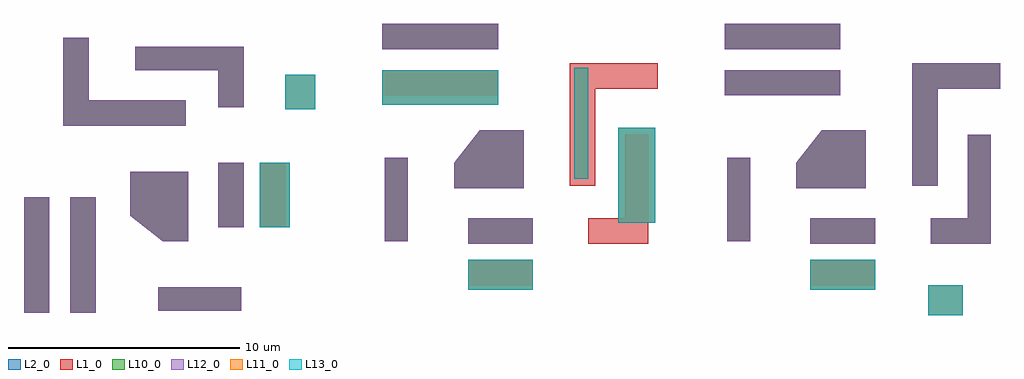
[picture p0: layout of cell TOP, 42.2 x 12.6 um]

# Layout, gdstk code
import gdstk
lib = gdstk.Library(unit=1e-6, precision=1e-09)
def R(c, l, rs):  # rectangles x0, y0, x1, y1
    for r in rs: c.add(gdstk.rectangle(r[:2], r[2:], *l))
def P(c, l, *ps):  # polygons
    for p in ps: c.add(gdstk.Polygon(p, *l))
L1_0 = (1, 0)
L2_0 = (2, 0)
L10_0 = (10, 0)
L11_0 = (11, 0)
L12_0 = (12, 0)
L13_0 = (13, 0)
L20_0 = (20, 0)
L21_0 = (21, 0)
L22_0 = (22, 0)
L23_0 = (23, 0)

top = lib.new_cell('TOP')
R(top, L1_0, [(1.1,1.2,2.2,3.2), (3.1,1.2,4.2,6.2), (6.9,1.3,10.5,2.3), (20.3,2.4,23.1,3.5), (35.1,2.4,37.9,3.5), (1.1,3.2,2.2,6.2), (20.3,4.2,23.1,5.3), (25.5,4.2,28.1,5.3), (35.1,4.2,37.9,5.3), (40.3,4.2,42.9,5.3), (16.7,4.3,17.7,7.9), (31.5,4.3,32.5,7.9), (9.5,4.9,10.6,7.7), (11.3,4.9,12.4,7.7), (27.1,5.3,28.1,8.9), (41.9,5.3,42.9,8.9), (9.5,10.1,10.6,12.7), (16.6,10.6,21.6,11.7), (31.4,10.6,36.4,11.7), (5.9,11.7,9.5,12.7), (16.6,12.6,18.6,13.7), (18.6,12.6,21.6,13.7), (31.4,12.6,33.4,13.7), (33.4,12.6,36.4,13.7)])
P(top, L1_0, [(7.1,4.3),(5.7,5.4),(5.7,7.3),(8.2,7.3),(8.2,4.3)],
  [(2.8,9.3),(2.8,13.1),(3.9,13.1),(3.9,10.4),(8.1,10.4),(8.1,9.3)],
  [(19.7,6.6),(19.7,7.7),(20.8,9.1),(22.7,9.1),(22.7,6.6)],
  [(24.7,6.7),(24.7,12),(28.5,12),(28.5,10.9),(25.8,10.9),(25.8,6.7)],
  [(34.5,6.6),(34.5,7.7),(35.6,9.1),(37.5,9.1),(37.5,6.6)],
  [(39.5,6.7),(39.5,12),(43.3,12),(43.3,10.9),(40.6,10.9),(40.6,6.7)])
R(top, L2_0, [(40.2,1.1,41.7,2.4), (1.1,1.2,2.2,6.2), (3.1,1.2,4.2,6.2), (6.9,1.3,8.7,2.3), (8.7,1.3,10.5,2.3), (20.3,2.2,23.1,3.5), (35.1,2.2,37.9,3.5), (20.3,4.2,23.1,5.3), (35.1,4.2,37.9,5.3), (16.7,4.3,17.7,6.1), (31.5,4.3,32.5,6.1), (9.5,4.9,10.6,7.7), (11.3,4.9,12.6,7.7), (26.8,5.1,28.4,9.2), (16.7,6.1,17.7,7.9), (31.5,6.1,32.5,7.9), (24.9,7,25.5,11.8), (12.4,10,13.7,11.5), (16.6,10.2,21.6,11.7), (31.4,10.6,36.4,11.7), (16.6,12.6,21.6,13.7), (31.4,12.6,36.4,13.7)])
P(top, L2_0, [(9.5,10.1),(9.5,11.7),(5.9,11.7),(5.9,12.7),(10.6,12.7),(10.6,10.1)],
  [(2.8,9.3),(2.8,13.1),(3.9,13.1),(3.9,10.4),(8.1,10.4),(8.1,9.3)],
  [(7.1,4.3),(5.7,5.4),(5.7,7.3),(8.2,7.3),(8.2,4.3)],
  [(19.7,6.6),(19.7,7.7),(20.8,9.1),(22.7,9.1),(22.7,6.6)],
  [(34.5,6.6),(34.5,7.7),(35.6,9.1),(37.5,9.1),(37.5,6.6)],
  [(40.3,4.2),(40.3,5.3),(41.9,5.3),(41.9,8.9),(42.9,8.9),(42.9,4.2)],
  [(39.5,6.7),(39.5,12),(43.3,12),(43.3,10.9),(40.6,10.9),(40.6,6.7)])
R(top, L10_0, [(1.1,1.2,2.2,6.2), (3.1,1.2,4.2,6.2), (6.9,1.3,10.5,2.3), (20.3,4.2,23.1,5.3), (35.1,4.2,37.9,5.3), (16.7,4.3,17.7,7.9), (31.5,4.3,32.5,7.9), (9.5,4.9,10.6,7.7), (31.4,10.6,36.4,11.7), (16.6,12.6,21.6,13.7), (31.4,12.6,36.4,13.7)])
P(top, L10_0, [(7.1,4.3),(5.7,5.4),(5.7,7.3),(8.2,7.3),(8.2,4.3)],
  [(40.3,4.2),(40.3,5.3),(41.9,5.3),(41.9,8.9),(42.9,8.9),(42.9,4.2)],
  [(19.7,6.6),(19.7,7.7),(20.8,9.1),(22.7,9.1),(22.7,6.6)],
  [(34.5,6.6),(34.5,7.7),(35.6,9.1),(37.5,9.1),(37.5,6.6)],
  [(39.5,6.7),(39.5,12),(43.3,12),(43.3,10.9),(40.6,10.9),(40.6,6.7)],
  [(9.5,10.1),(9.5,11.7),(5.9,11.7),(5.9,12.7),(10.6,12.7),(10.6,10.1)],
  [(2.8,9.3),(2.8,13.1),(3.9,13.1),(3.9,10.4),(8.1,10.4),(8.1,9.3)])
R(top, L11_0, [(40.2,1.1,41.7,2.4), (20.3,2.2,23.1,3.5), (35.1,2.2,37.9,3.5), (11.3,4.9,12.6,7.7), (26.8,5.1,28.4,9.2), (24.9,7,25.5,11.8), (12.4,10,13.7,11.5), (16.6,10.2,21.6,11.7)])
R(top, L12_0, [(1.1,1.2,2.2,6.2), (3.1,1.2,4.2,6.2), (6.9,1.3,10.5,2.3), (20.3,4.2,23.1,5.3), (35.1,4.2,37.9,5.3), (16.7,4.3,17.7,7.9), (31.5,4.3,32.5,7.9), (9.5,4.9,10.6,7.7), (31.4,10.6,36.4,11.7), (16.6,12.6,21.6,13.7), (31.4,12.6,36.4,13.7)])
P(top, L12_0, [(7.1,4.3),(5.7,5.4),(5.7,7.3),(8.2,7.3),(8.2,4.3)],
  [(40.3,4.2),(40.3,5.3),(41.9,5.3),(41.9,8.9),(42.9,8.9),(42.9,4.2)],
  [(19.7,6.6),(19.7,7.7),(20.8,9.1),(22.7,9.1),(22.7,6.6)],
  [(34.5,6.6),(34.5,7.7),(35.6,9.1),(37.5,9.1),(37.5,6.6)],
  [(39.5,6.7),(39.5,12),(43.3,12),(43.3,10.9),(40.6,10.9),(40.6,6.7)],
  [(9.5,10.1),(9.5,11.7),(5.9,11.7),(5.9,12.7),(10.6,12.7),(10.6,10.1)],
  [(2.8,9.3),(2.8,13.1),(3.9,13.1),(3.9,10.4),(8.1,10.4),(8.1,9.3)])
R(top, L13_0, [(40.2,1.1,41.7,2.4), (20.3,2.2,23.1,3.5), (35.1,2.2,37.9,3.5), (11.3,4.9,12.6,7.7), (26.8,5.1,28.4,9.2), (24.9,7,25.5,11.8), (12.4,10,13.7,11.5), (16.6,10.2,21.6,11.7)])
top.add(gdstk.FlexPath([(20.3,3.5),(23.1,3.5)], 0, ends="flush", simple_path=True, layer=20, datatype=0))  # L20_0
top.add(gdstk.FlexPath([(23.1,4.2),(20.3,4.2)], 0, ends="flush", simple_path=True, layer=20, datatype=0))  # L20_0
top.add(gdstk.FlexPath([(20.3,5.3),(23.1,5.3)], 0, ends="flush", simple_path=True, layer=20, datatype=0))  # L20_0
top.add(gdstk.FlexPath([(42.9,8.9),(42.9,4.2)], 0, ends="flush", simple_path=True, layer=20, datatype=0))  # L20_0
top.add(gdstk.FlexPath([(41.9,5.3),(41.9,8.9)], 0, ends="flush", simple_path=True, layer=20, datatype=0))  # L20_0
top.add(gdstk.FlexPath([(9.5,4.9),(9.5,7.7)], 0, ends="flush", simple_path=True, layer=20, datatype=0))  # L20_0
top.add(gdstk.FlexPath([(10.6,7.7),(10.6,4.9)], 0, ends="flush", simple_path=True, layer=20, datatype=0))  # L20_0
top.add(gdstk.FlexPath([(11.3,4.9),(11.3,7.7)], 0, ends="flush", simple_path=True, layer=20, datatype=0))  # L20_0
top.add(gdstk.FlexPath([(16.7,4.3),(16.7,7.9)], 0, ends="flush", simple_path=True, layer=20, datatype=0))  # L20_0
top.add(gdstk.FlexPath([(17.7,7.9),(17.7,4.3)], 0, ends="flush", simple_path=True, layer=20, datatype=0))  # L20_0
top.add(gdstk.FlexPath([(19.7,6.6),(19.7,7.7)], 0, ends="flush", simple_path=True, layer=20, datatype=0))  # L20_0
top.add(gdstk.FlexPath([(22.7,6.6),(19.7,6.6)], 0, ends="flush", simple_path=True, layer=20, datatype=0))  # L20_0
top.add(gdstk.FlexPath([(20.8,9.1),(22.7,9.1)], 0, ends="flush", simple_path=True, layer=20, datatype=0))  # L20_0
top.add(gdstk.FlexPath([(22.7,9.1),(22.7,6.6)], 0, ends="flush", simple_path=True, layer=20, datatype=0))  # L20_0
top.add(gdstk.FlexPath([(37.5,9.1),(37.5,6.6)], 0, ends="flush", simple_path=True, layer=20, datatype=0))  # L20_0
top.add(gdstk.FlexPath([(31.5,4.3),(31.5,7.9)], 0, ends="flush", simple_path=True, layer=20, datatype=0))  # L20_0
top.add(gdstk.FlexPath([(32.5,7.9),(32.5,4.3)], 0, ends="flush", simple_path=True, layer=20, datatype=0))  # L20_0
top.add(gdstk.FlexPath([(34.5,6.6),(34.5,7.7)], 0, ends="flush", simple_path=True, layer=20, datatype=0))  # L20_0
top.add(gdstk.FlexPath([(40.6,10.9),(40.6,6.7)], 0, ends="flush", simple_path=True, layer=20, datatype=0))  # L20_0
top.add(gdstk.FlexPath([(39.5,6.7),(39.5,12)], 0, ends="flush", simple_path=True, layer=20, datatype=0))  # L20_0
top.add(gdstk.FlexPath([(35.6,9.1),(37.5,9.1)], 0, ends="flush", simple_path=True, layer=20, datatype=0))  # L20_0
top.add(gdstk.FlexPath([(43.3,10.9),(40.6,10.9)], 0, ends="flush", simple_path=True, layer=20, datatype=0))  # L20_0
top.add(gdstk.FlexPath([(36.4,11.7),(36.4,10.6)], 0, ends="flush", simple_path=True, layer=20, datatype=0))  # L20_0
top.add(gdstk.FlexPath([(31.4,11.7),(36.4,11.7)], 0, ends="flush", simple_path=True, layer=20, datatype=0))  # L20_0
top.add(gdstk.FlexPath([(31.4,10.6),(31.4,11.7)], 0, ends="flush", simple_path=True, layer=20, datatype=0))  # L20_0
top.add(gdstk.FlexPath([(36.4,10.6),(31.4,10.6)], 0, ends="flush", simple_path=True, layer=20, datatype=0))  # L20_0
top.add(gdstk.FlexPath([(43.3,12),(43.3,10.9)], 0, ends="flush", simple_path=True, layer=20, datatype=0))  # L20_0
top.add(gdstk.FlexPath([(41.9,8.9),(42.9,8.9)], 0, ends="flush", simple_path=True, layer=20, datatype=0))  # L20_0
top.add(gdstk.FlexPath([(39.5,12),(43.3,12)], 0, ends="flush", simple_path=True, layer=20, datatype=0))  # L20_0
top.add(gdstk.FlexPath([(36.4,12.6),(31.4,12.6)], 0, ends="flush", simple_path=True, layer=20, datatype=0))  # L20_0
top.add(gdstk.FlexPath([(31.5,7.9),(32.5,7.9)], 0, ends="flush", simple_path=True, layer=20, datatype=0))  # L20_0
top.add(gdstk.FlexPath([(34.5,7.7),(35.6,9.1)], 0, ends="flush", simple_path=True, layer=20, datatype=0))  # L20_0
top.add(gdstk.FlexPath([(31.4,12.6),(31.4,13.7)], 0, ends="flush", simple_path=True, layer=20, datatype=0))  # L20_0
top.add(gdstk.FlexPath([(31.4,13.7),(36.4,13.7)], 0, ends="flush", simple_path=True, layer=20, datatype=0))  # L20_0
top.add(gdstk.FlexPath([(36.4,13.7),(36.4,12.6)], 0, ends="flush", simple_path=True, layer=20, datatype=0))  # L20_0
top.add(gdstk.FlexPath([(16.6,11.7),(21.6,11.7)], 0, ends="flush", simple_path=True, layer=20, datatype=0))  # L20_0
top.add(gdstk.FlexPath([(8.1,9.3),(2.8,9.3)], 0, ends="flush", simple_path=True, layer=20, datatype=0))  # L20_0
top.add(gdstk.FlexPath([(10.6,10.1),(9.5,10.1)], 0, ends="flush", simple_path=True, layer=20, datatype=0))  # L20_0
top.add(gdstk.FlexPath([(19.7,7.7),(20.8,9.1)], 0, ends="flush", simple_path=True, layer=20, datatype=0))  # L20_0
top.add(gdstk.FlexPath([(5.9,12.7),(10.6,12.7)], 0, ends="flush", simple_path=True, layer=20, datatype=0))  # L20_0
top.add(gdstk.FlexPath([(5.9,11.7),(5.9,12.7)], 0, ends="flush", simple_path=True, layer=20, datatype=0))  # L20_0
top.add(gdstk.FlexPath([(10.6,12.7),(10.6,10.1)], 0, ends="flush", simple_path=True, layer=20, datatype=0))  # L20_0
top.add(gdstk.FlexPath([(21.6,12.6),(16.6,12.6)], 0, ends="flush", simple_path=True, layer=20, datatype=0))  # L20_0
top.add(gdstk.FlexPath([(3.9,10.4),(8.1,10.4)], 0, ends="flush", simple_path=True, layer=20, datatype=0))  # L20_0
top.add(gdstk.FlexPath([(9.5,11.7),(5.9,11.7)], 0, ends="flush", simple_path=True, layer=20, datatype=0))  # L20_0
top.add(gdstk.FlexPath([(16.7,7.9),(17.7,7.9)], 0, ends="flush", simple_path=True, layer=20, datatype=0))  # L20_0
top.add(gdstk.FlexPath([(8.1,10.4),(8.1,9.3)], 0, ends="flush", simple_path=True, layer=20, datatype=0))  # L20_0
top.add(gdstk.FlexPath([(2.8,9.3),(2.8,13.1)], 0, ends="flush", simple_path=True, layer=20, datatype=0))  # L20_0
top.add(gdstk.FlexPath([(2.8,13.1),(3.9,13.1)], 0, ends="flush", simple_path=True, layer=20, datatype=0))  # L20_0
top.add(gdstk.FlexPath([(3.9,13.1),(3.9,10.4)], 0, ends="flush", simple_path=True, layer=20, datatype=0))  # L20_0
top.add(gdstk.FlexPath([(16.6,12.6),(16.6,13.7)], 0, ends="flush", simple_path=True, layer=20, datatype=0))  # L20_0
top.add(gdstk.FlexPath([(16.6,13.7),(21.6,13.7)], 0, ends="flush", simple_path=True, layer=20, datatype=0))  # L20_0
top.add(gdstk.FlexPath([(21.6,13.7),(21.6,12.6)], 0, ends="flush", simple_path=True, layer=20, datatype=0))  # L20_0
top.add(gdstk.FlexPath([(9.5,10.1),(9.5,11.7)], 0, ends="flush", simple_path=True, layer=20, datatype=0))  # L20_0
top.add(gdstk.FlexPath([(9.5,7.7),(10.6,7.7)], 0, ends="flush", simple_path=True, layer=20, datatype=0))  # L20_0
top.add(gdstk.FlexPath([(10.5,1.3),(6.9,1.3)], 0, ends="flush", simple_path=True, layer=20, datatype=0))  # L20_0
top.add(gdstk.FlexPath([(8.2,7.3),(8.2,4.3)], 0, ends="flush", simple_path=True, layer=20, datatype=0))  # L20_0
top.add(gdstk.FlexPath([(2.2,1.2),(1.1,1.2)], 0, ends="flush", simple_path=True, layer=20, datatype=0))  # L20_0
top.add(gdstk.FlexPath([(4.2,1.2),(3.1,1.2)], 0, ends="flush", simple_path=True, layer=20, datatype=0))  # L20_0
top.add(gdstk.FlexPath([(1.1,6.2),(2.2,6.2)], 0, ends="flush", simple_path=True, layer=20, datatype=0))  # L20_0
top.add(gdstk.FlexPath([(1.1,1.2),(1.1,6.2)], 0, ends="flush", simple_path=True, layer=20, datatype=0))  # L20_0
top.add(gdstk.FlexPath([(2.2,6.2),(2.2,1.2)], 0, ends="flush", simple_path=True, layer=20, datatype=0))  # L20_0
top.add(gdstk.FlexPath([(3.1,6.2),(4.2,6.2)], 0, ends="flush", simple_path=True, layer=20, datatype=0))  # L20_0
top.add(gdstk.FlexPath([(3.1,1.2),(3.1,6.2)], 0, ends="flush", simple_path=True, layer=20, datatype=0))  # L20_0
top.add(gdstk.FlexPath([(4.2,6.2),(4.2,1.2)], 0, ends="flush", simple_path=True, layer=20, datatype=0))  # L20_0
top.add(gdstk.FlexPath([(7.1,4.3),(5.7,5.4)], 0, ends="flush", simple_path=True, layer=20, datatype=0))  # L20_0
top.add(gdstk.FlexPath([(8.2,4.3),(7.1,4.3)], 0, ends="flush", simple_path=True, layer=20, datatype=0))  # L20_0
top.add(gdstk.FlexPath([(10.6,4.9),(9.5,4.9)], 0, ends="flush", simple_path=True, layer=20, datatype=0))  # L20_0
top.add(gdstk.FlexPath([(17.7,4.3),(16.7,4.3)], 0, ends="flush", simple_path=True, layer=20, datatype=0))  # L20_0
top.add(gdstk.FlexPath([(6.9,1.3),(6.9,2.3)], 0, ends="flush", simple_path=True, layer=20, datatype=0))  # L20_0
top.add(gdstk.FlexPath([(20.3,4.2),(20.3,5.3)], 0, ends="flush", simple_path=True, layer=20, datatype=0))  # L20_0
top.add(gdstk.FlexPath([(6.9,2.3),(10.5,2.3)], 0, ends="flush", simple_path=True, layer=20, datatype=0))  # L20_0
top.add(gdstk.FlexPath([(10.5,2.3),(10.5,1.3)], 0, ends="flush", simple_path=True, layer=20, datatype=0))  # L20_0
top.add(gdstk.FlexPath([(5.7,5.4),(5.7,7.3)], 0, ends="flush", simple_path=True, layer=20, datatype=0))  # L20_0
top.add(gdstk.FlexPath([(5.7,7.3),(8.2,7.3)], 0, ends="flush", simple_path=True, layer=20, datatype=0))  # L20_0
top.add(gdstk.FlexPath([(37.9,5.3),(37.9,4.2)], 0, ends="flush", simple_path=True, layer=20, datatype=0))  # L20_0
top.add(gdstk.FlexPath([(37.5,6.6),(34.5,6.6)], 0, ends="flush", simple_path=True, layer=20, datatype=0))  # L20_0
top.add(gdstk.FlexPath([(35.1,4.2),(35.1,5.3)], 0, ends="flush", simple_path=True, layer=20, datatype=0))  # L20_0
top.add(gdstk.FlexPath([(35.1,5.3),(37.9,5.3)], 0, ends="flush", simple_path=True, layer=20, datatype=0))  # L20_0
top.add(gdstk.FlexPath([(32.5,4.3),(31.5,4.3)], 0, ends="flush", simple_path=True, layer=20, datatype=0))  # L20_0
top.add(gdstk.FlexPath([(23.1,5.3),(23.1,4.2)], 0, ends="flush", simple_path=True, layer=20, datatype=0))  # L20_0
top.add(gdstk.FlexPath([(35.1,3.5),(37.9,3.5)], 0, ends="flush", simple_path=True, layer=20, datatype=0))  # L20_0
top.add(gdstk.FlexPath([(40.6,6.7),(39.5,6.7)], 0, ends="flush", simple_path=True, layer=20, datatype=0))  # L20_0
top.add(gdstk.FlexPath([(42.9,4.2),(40.3,4.2)], 0, ends="flush", simple_path=True, layer=20, datatype=0))  # L20_0
top.add(gdstk.FlexPath([(37.9,4.2),(35.1,4.2)], 0, ends="flush", simple_path=True, layer=20, datatype=0))  # L20_0
top.add(gdstk.FlexPath([(40.3,4.2),(40.3,5.3)], 0, ends="flush", simple_path=True, layer=20, datatype=0))  # L20_0
top.add(gdstk.FlexPath([(40.3,5.3),(41.9,5.3)], 0, ends="flush", simple_path=True, layer=20, datatype=0))  # L20_0
top.add(gdstk.FlexPath([(23.1,2.2),(20.3,2.2)], 0, ends="flush", simple_path=True, layer=21, datatype=0))  # L21_0
top.add(gdstk.FlexPath([(12.6,7.7),(12.6,4.9)], 0, ends="flush", simple_path=True, layer=21, datatype=0))  # L21_0
top.add(gdstk.FlexPath([(26.8,5.1),(26.8,9.2)], 0, ends="flush", simple_path=True, layer=21, datatype=0))  # L21_0
top.add(gdstk.FlexPath([(28.4,9.2),(28.4,5.1)], 0, ends="flush", simple_path=True, layer=21, datatype=0))  # L21_0
top.add(gdstk.FlexPath([(25.5,11.8),(25.5,7)], 0, ends="flush", simple_path=True, layer=21, datatype=0))  # L21_0
top.add(gdstk.FlexPath([(24.9,7),(24.9,11.8)], 0, ends="flush", simple_path=True, layer=21, datatype=0))  # L21_0
top.add(gdstk.FlexPath([(26.8,9.2),(28.4,9.2)], 0, ends="flush", simple_path=True, layer=21, datatype=0))  # L21_0
top.add(gdstk.FlexPath([(24.9,11.8),(25.5,11.8)], 0, ends="flush", simple_path=True, layer=21, datatype=0))  # L21_0
top.add(gdstk.FlexPath([(12.4,11.5),(13.7,11.5)], 0, ends="flush", simple_path=True, layer=21, datatype=0))  # L21_0
top.add(gdstk.FlexPath([(13.7,11.5),(13.7,10)], 0, ends="flush", simple_path=True, layer=21, datatype=0))  # L21_0
top.add(gdstk.FlexPath([(16.6,10.2),(16.6,11.7)], 0, ends="flush", simple_path=True, layer=21, datatype=0))  # L21_0
top.add(gdstk.FlexPath([(21.6,10.2),(16.6,10.2)], 0, ends="flush", simple_path=True, layer=21, datatype=0))  # L21_0
top.add(gdstk.FlexPath([(21.6,11.7),(21.6,10.2)], 0, ends="flush", simple_path=True, layer=21, datatype=0))  # L21_0
top.add(gdstk.FlexPath([(13.7,10),(12.4,10)], 0, ends="flush", simple_path=True, layer=21, datatype=0))  # L21_0
top.add(gdstk.FlexPath([(11.3,7.7),(12.6,7.7)], 0, ends="flush", simple_path=True, layer=21, datatype=0))  # L21_0
top.add(gdstk.FlexPath([(12.4,10),(12.4,11.5)], 0, ends="flush", simple_path=True, layer=21, datatype=0))  # L21_0
top.add(gdstk.FlexPath([(20.3,2.2),(20.3,3.5)], 0, ends="flush", simple_path=True, layer=21, datatype=0))  # L21_0
top.add(gdstk.FlexPath([(12.6,4.9),(11.3,4.9)], 0, ends="flush", simple_path=True, layer=21, datatype=0))  # L21_0
top.add(gdstk.FlexPath([(40.2,1.1),(40.2,2.4)], 0, ends="flush", simple_path=True, layer=21, datatype=0))  # L21_0
top.add(gdstk.FlexPath([(37.9,3.5),(37.9,2.2)], 0, ends="flush", simple_path=True, layer=21, datatype=0))  # L21_0
top.add(gdstk.FlexPath([(28.4,5.1),(26.8,5.1)], 0, ends="flush", simple_path=True, layer=21, datatype=0))  # L21_0
top.add(gdstk.FlexPath([(41.7,1.1),(40.2,1.1)], 0, ends="flush", simple_path=True, layer=21, datatype=0))  # L21_0
top.add(gdstk.FlexPath([(35.1,2.2),(35.1,3.5)], 0, ends="flush", simple_path=True, layer=21, datatype=0))  # L21_0
top.add(gdstk.FlexPath([(41.7,2.4),(41.7,1.1)], 0, ends="flush", simple_path=True, layer=21, datatype=0))  # L21_0
top.add(gdstk.FlexPath([(25.5,7),(24.9,7)], 0, ends="flush", simple_path=True, layer=21, datatype=0))  # L21_0
top.add(gdstk.FlexPath([(37.9,2.2),(35.1,2.2)], 0, ends="flush", simple_path=True, layer=21, datatype=0))  # L21_0
top.add(gdstk.FlexPath([(23.1,3.5),(23.1,2.2)], 0, ends="flush", simple_path=True, layer=21, datatype=0))  # L21_0
top.add(gdstk.FlexPath([(40.2,2.4),(41.7,2.4)], 0, ends="flush", simple_path=True, layer=21, datatype=0))  # L21_0
top.add(gdstk.FlexPath([(20.3,3.5),(23.1,3.5)], 0, ends="flush", simple_path=True, layer=22, datatype=0))  # L22_0
top.add(gdstk.FlexPath([(23.1,4.2),(20.3,4.2)], 0, ends="flush", simple_path=True, layer=22, datatype=0))  # L22_0
top.add(gdstk.FlexPath([(20.3,5.3),(23.1,5.3)], 0, ends="flush", simple_path=True, layer=22, datatype=0))  # L22_0
top.add(gdstk.FlexPath([(42.9,8.9),(42.9,4.2)], 0, ends="flush", simple_path=True, layer=22, datatype=0))  # L22_0
top.add(gdstk.FlexPath([(41.9,5.3),(41.9,8.9)], 0, ends="flush", simple_path=True, layer=22, datatype=0))  # L22_0
top.add(gdstk.FlexPath([(9.5,4.9),(9.5,7.7)], 0, ends="flush", simple_path=True, layer=22, datatype=0))  # L22_0
top.add(gdstk.FlexPath([(10.6,7.7),(10.6,4.9)], 0, ends="flush", simple_path=True, layer=22, datatype=0))  # L22_0
top.add(gdstk.FlexPath([(11.3,4.9),(11.3,7.7)], 0, ends="flush", simple_path=True, layer=22, datatype=0))  # L22_0
top.add(gdstk.FlexPath([(16.7,4.3),(16.7,7.9)], 0, ends="flush", simple_path=True, layer=22, datatype=0))  # L22_0
top.add(gdstk.FlexPath([(17.7,7.9),(17.7,4.3)], 0, ends="flush", simple_path=True, layer=22, datatype=0))  # L22_0
top.add(gdstk.FlexPath([(19.7,6.6),(19.7,7.7)], 0, ends="flush", simple_path=True, layer=22, datatype=0))  # L22_0
top.add(gdstk.FlexPath([(22.7,6.6),(19.7,6.6)], 0, ends="flush", simple_path=True, layer=22, datatype=0))  # L22_0
top.add(gdstk.FlexPath([(20.8,9.1),(22.7,9.1)], 0, ends="flush", simple_path=True, layer=22, datatype=0))  # L22_0
top.add(gdstk.FlexPath([(22.7,9.1),(22.7,6.6)], 0, ends="flush", simple_path=True, layer=22, datatype=0))  # L22_0
top.add(gdstk.FlexPath([(37.5,9.1),(37.5,6.6)], 0, ends="flush", simple_path=True, layer=22, datatype=0))  # L22_0
top.add(gdstk.FlexPath([(31.5,4.3),(31.5,7.9)], 0, ends="flush", simple_path=True, layer=22, datatype=0))  # L22_0
top.add(gdstk.FlexPath([(32.5,7.9),(32.5,4.3)], 0, ends="flush", simple_path=True, layer=22, datatype=0))  # L22_0
top.add(gdstk.FlexPath([(34.5,6.6),(34.5,7.7)], 0, ends="flush", simple_path=True, layer=22, datatype=0))  # L22_0
top.add(gdstk.FlexPath([(40.6,10.9),(40.6,6.7)], 0, ends="flush", simple_path=True, layer=22, datatype=0))  # L22_0
top.add(gdstk.FlexPath([(39.5,6.7),(39.5,12)], 0, ends="flush", simple_path=True, layer=22, datatype=0))  # L22_0
top.add(gdstk.FlexPath([(35.6,9.1),(37.5,9.1)], 0, ends="flush", simple_path=True, layer=22, datatype=0))  # L22_0
top.add(gdstk.FlexPath([(43.3,10.9),(40.6,10.9)], 0, ends="flush", simple_path=True, layer=22, datatype=0))  # L22_0
top.add(gdstk.FlexPath([(36.4,11.7),(36.4,10.6)], 0, ends="flush", simple_path=True, layer=22, datatype=0))  # L22_0
top.add(gdstk.FlexPath([(31.4,11.7),(36.4,11.7)], 0, ends="flush", simple_path=True, layer=22, datatype=0))  # L22_0
top.add(gdstk.FlexPath([(31.4,10.6),(31.4,11.7)], 0, ends="flush", simple_path=True, layer=22, datatype=0))  # L22_0
top.add(gdstk.FlexPath([(36.4,10.6),(31.4,10.6)], 0, ends="flush", simple_path=True, layer=22, datatype=0))  # L22_0
top.add(gdstk.FlexPath([(43.3,12),(43.3,10.9)], 0, ends="flush", simple_path=True, layer=22, datatype=0))  # L22_0
top.add(gdstk.FlexPath([(41.9,8.9),(42.9,8.9)], 0, ends="flush", simple_path=True, layer=22, datatype=0))  # L22_0
top.add(gdstk.FlexPath([(39.5,12),(43.3,12)], 0, ends="flush", simple_path=True, layer=22, datatype=0))  # L22_0
top.add(gdstk.FlexPath([(36.4,12.6),(31.4,12.6)], 0, ends="flush", simple_path=True, layer=22, datatype=0))  # L22_0
top.add(gdstk.FlexPath([(31.5,7.9),(32.5,7.9)], 0, ends="flush", simple_path=True, layer=22, datatype=0))  # L22_0
top.add(gdstk.FlexPath([(34.5,7.7),(35.6,9.1)], 0, ends="flush", simple_path=True, layer=22, datatype=0))  # L22_0
top.add(gdstk.FlexPath([(31.4,12.6),(31.4,13.7)], 0, ends="flush", simple_path=True, layer=22, datatype=0))  # L22_0
top.add(gdstk.FlexPath([(31.4,13.7),(36.4,13.7)], 0, ends="flush", simple_path=True, layer=22, datatype=0))  # L22_0
top.add(gdstk.FlexPath([(36.4,13.7),(36.4,12.6)], 0, ends="flush", simple_path=True, layer=22, datatype=0))  # L22_0
top.add(gdstk.FlexPath([(16.6,11.7),(21.6,11.7)], 0, ends="flush", simple_path=True, layer=22, datatype=0))  # L22_0
top.add(gdstk.FlexPath([(8.1,9.3),(2.8,9.3)], 0, ends="flush", simple_path=True, layer=22, datatype=0))  # L22_0
top.add(gdstk.FlexPath([(10.6,10.1),(9.5,10.1)], 0, ends="flush", simple_path=True, layer=22, datatype=0))  # L22_0
top.add(gdstk.FlexPath([(19.7,7.7),(20.8,9.1)], 0, ends="flush", simple_path=True, layer=22, datatype=0))  # L22_0
top.add(gdstk.FlexPath([(5.9,12.7),(10.6,12.7)], 0, ends="flush", simple_path=True, layer=22, datatype=0))  # L22_0
top.add(gdstk.FlexPath([(5.9,11.7),(5.9,12.7)], 0, ends="flush", simple_path=True, layer=22, datatype=0))  # L22_0
top.add(gdstk.FlexPath([(10.6,12.7),(10.6,10.1)], 0, ends="flush", simple_path=True, layer=22, datatype=0))  # L22_0
top.add(gdstk.FlexPath([(21.6,12.6),(16.6,12.6)], 0, ends="flush", simple_path=True, layer=22, datatype=0))  # L22_0
top.add(gdstk.FlexPath([(3.9,10.4),(8.1,10.4)], 0, ends="flush", simple_path=True, layer=22, datatype=0))  # L22_0
top.add(gdstk.FlexPath([(9.5,11.7),(5.9,11.7)], 0, ends="flush", simple_path=True, layer=22, datatype=0))  # L22_0
top.add(gdstk.FlexPath([(16.7,7.9),(17.7,7.9)], 0, ends="flush", simple_path=True, layer=22, datatype=0))  # L22_0
top.add(gdstk.FlexPath([(8.1,10.4),(8.1,9.3)], 0, ends="flush", simple_path=True, layer=22, datatype=0))  # L22_0
top.add(gdstk.FlexPath([(2.8,9.3),(2.8,13.1)], 0, ends="flush", simple_path=True, layer=22, datatype=0))  # L22_0
top.add(gdstk.FlexPath([(2.8,13.1),(3.9,13.1)], 0, ends="flush", simple_path=True, layer=22, datatype=0))  # L22_0
top.add(gdstk.FlexPath([(3.9,13.1),(3.9,10.4)], 0, ends="flush", simple_path=True, layer=22, datatype=0))  # L22_0
top.add(gdstk.FlexPath([(16.6,12.6),(16.6,13.7)], 0, ends="flush", simple_path=True, layer=22, datatype=0))  # L22_0
top.add(gdstk.FlexPath([(16.6,13.7),(21.6,13.7)], 0, ends="flush", simple_path=True, layer=22, datatype=0))  # L22_0
top.add(gdstk.FlexPath([(21.6,13.7),(21.6,12.6)], 0, ends="flush", simple_path=True, layer=22, datatype=0))  # L22_0
top.add(gdstk.FlexPath([(9.5,10.1),(9.5,11.7)], 0, ends="flush", simple_path=True, layer=22, datatype=0))  # L22_0
top.add(gdstk.FlexPath([(9.5,7.7),(10.6,7.7)], 0, ends="flush", simple_path=True, layer=22, datatype=0))  # L22_0
top.add(gdstk.FlexPath([(10.5,1.3),(6.9,1.3)], 0, ends="flush", simple_path=True, layer=22, datatype=0))  # L22_0
top.add(gdstk.FlexPath([(8.2,7.3),(8.2,4.3)], 0, ends="flush", simple_path=True, layer=22, datatype=0))  # L22_0
top.add(gdstk.FlexPath([(2.2,1.2),(1.1,1.2)], 0, ends="flush", simple_path=True, layer=22, datatype=0))  # L22_0
top.add(gdstk.FlexPath([(4.2,1.2),(3.1,1.2)], 0, ends="flush", simple_path=True, layer=22, datatype=0))  # L22_0
top.add(gdstk.FlexPath([(1.1,6.2),(2.2,6.2)], 0, ends="flush", simple_path=True, layer=22, datatype=0))  # L22_0
top.add(gdstk.FlexPath([(1.1,1.2),(1.1,6.2)], 0, ends="flush", simple_path=True, layer=22, datatype=0))  # L22_0
top.add(gdstk.FlexPath([(2.2,6.2),(2.2,1.2)], 0, ends="flush", simple_path=True, layer=22, datatype=0))  # L22_0
top.add(gdstk.FlexPath([(3.1,6.2),(4.2,6.2)], 0, ends="flush", simple_path=True, layer=22, datatype=0))  # L22_0
top.add(gdstk.FlexPath([(3.1,1.2),(3.1,6.2)], 0, ends="flush", simple_path=True, layer=22, datatype=0))  # L22_0
top.add(gdstk.FlexPath([(4.2,6.2),(4.2,1.2)], 0, ends="flush", simple_path=True, layer=22, datatype=0))  # L22_0
top.add(gdstk.FlexPath([(7.1,4.3),(5.7,5.4)], 0, ends="flush", simple_path=True, layer=22, datatype=0))  # L22_0
top.add(gdstk.FlexPath([(8.2,4.3),(7.1,4.3)], 0, ends="flush", simple_path=True, layer=22, datatype=0))  # L22_0
top.add(gdstk.FlexPath([(10.6,4.9),(9.5,4.9)], 0, ends="flush", simple_path=True, layer=22, datatype=0))  # L22_0
top.add(gdstk.FlexPath([(17.7,4.3),(16.7,4.3)], 0, ends="flush", simple_path=True, layer=22, datatype=0))  # L22_0
top.add(gdstk.FlexPath([(6.9,1.3),(6.9,2.3)], 0, ends="flush", simple_path=True, layer=22, datatype=0))  # L22_0
top.add(gdstk.FlexPath([(20.3,4.2),(20.3,5.3)], 0, ends="flush", simple_path=True, layer=22, datatype=0))  # L22_0
top.add(gdstk.FlexPath([(6.9,2.3),(10.5,2.3)], 0, ends="flush", simple_path=True, layer=22, datatype=0))  # L22_0
top.add(gdstk.FlexPath([(10.5,2.3),(10.5,1.3)], 0, ends="flush", simple_path=True, layer=22, datatype=0))  # L22_0
top.add(gdstk.FlexPath([(5.7,5.4),(5.7,7.3)], 0, ends="flush", simple_path=True, layer=22, datatype=0))  # L22_0
top.add(gdstk.FlexPath([(5.7,7.3),(8.2,7.3)], 0, ends="flush", simple_path=True, layer=22, datatype=0))  # L22_0
top.add(gdstk.FlexPath([(37.9,5.3),(37.9,4.2)], 0, ends="flush", simple_path=True, layer=22, datatype=0))  # L22_0
top.add(gdstk.FlexPath([(37.5,6.6),(34.5,6.6)], 0, ends="flush", simple_path=True, layer=22, datatype=0))  # L22_0
top.add(gdstk.FlexPath([(35.1,4.2),(35.1,5.3)], 0, ends="flush", simple_path=True, layer=22, datatype=0))  # L22_0
top.add(gdstk.FlexPath([(35.1,5.3),(37.9,5.3)], 0, ends="flush", simple_path=True, layer=22, datatype=0))  # L22_0
top.add(gdstk.FlexPath([(32.5,4.3),(31.5,4.3)], 0, ends="flush", simple_path=True, layer=22, datatype=0))  # L22_0
top.add(gdstk.FlexPath([(23.1,5.3),(23.1,4.2)], 0, ends="flush", simple_path=True, layer=22, datatype=0))  # L22_0
top.add(gdstk.FlexPath([(35.1,3.5),(37.9,3.5)], 0, ends="flush", simple_path=True, layer=22, datatype=0))  # L22_0
top.add(gdstk.FlexPath([(40.6,6.7),(39.5,6.7)], 0, ends="flush", simple_path=True, layer=22, datatype=0))  # L22_0
top.add(gdstk.FlexPath([(42.9,4.2),(40.3,4.2)], 0, ends="flush", simple_path=True, layer=22, datatype=0))  # L22_0
top.add(gdstk.FlexPath([(37.9,4.2),(35.1,4.2)], 0, ends="flush", simple_path=True, layer=22, datatype=0))  # L22_0
top.add(gdstk.FlexPath([(40.3,4.2),(40.3,5.3)], 0, ends="flush", simple_path=True, layer=22, datatype=0))  # L22_0
top.add(gdstk.FlexPath([(40.3,5.3),(41.9,5.3)], 0, ends="flush", simple_path=True, layer=22, datatype=0))  # L22_0
top.add(gdstk.FlexPath([(23.1,2.2),(20.3,2.2)], 0, ends="flush", simple_path=True, layer=23, datatype=0))  # L23_0
top.add(gdstk.FlexPath([(12.6,7.7),(12.6,4.9)], 0, ends="flush", simple_path=True, layer=23, datatype=0))  # L23_0
top.add(gdstk.FlexPath([(26.8,5.1),(26.8,9.2)], 0, ends="flush", simple_path=True, layer=23, datatype=0))  # L23_0
top.add(gdstk.FlexPath([(28.4,9.2),(28.4,5.1)], 0, ends="flush", simple_path=True, layer=23, datatype=0))  # L23_0
top.add(gdstk.FlexPath([(25.5,11.8),(25.5,7)], 0, ends="flush", simple_path=True, layer=23, datatype=0))  # L23_0
top.add(gdstk.FlexPath([(24.9,7),(24.9,11.8)], 0, ends="flush", simple_path=True, layer=23, datatype=0))  # L23_0
top.add(gdstk.FlexPath([(26.8,9.2),(28.4,9.2)], 0, ends="flush", simple_path=True, layer=23, datatype=0))  # L23_0
top.add(gdstk.FlexPath([(24.9,11.8),(25.5,11.8)], 0, ends="flush", simple_path=True, layer=23, datatype=0))  # L23_0
top.add(gdstk.FlexPath([(12.4,11.5),(13.7,11.5)], 0, ends="flush", simple_path=True, layer=23, datatype=0))  # L23_0
top.add(gdstk.FlexPath([(13.7,11.5),(13.7,10)], 0, ends="flush", simple_path=True, layer=23, datatype=0))  # L23_0
top.add(gdstk.FlexPath([(16.6,10.2),(16.6,11.7)], 0, ends="flush", simple_path=True, layer=23, datatype=0))  # L23_0
top.add(gdstk.FlexPath([(21.6,10.2),(16.6,10.2)], 0, ends="flush", simple_path=True, layer=23, datatype=0))  # L23_0
top.add(gdstk.FlexPath([(21.6,11.7),(21.6,10.2)], 0, ends="flush", simple_path=True, layer=23, datatype=0))  # L23_0
top.add(gdstk.FlexPath([(13.7,10),(12.4,10)], 0, ends="flush", simple_path=True, layer=23, datatype=0))  # L23_0
top.add(gdstk.FlexPath([(11.3,7.7),(12.6,7.7)], 0, ends="flush", simple_path=True, layer=23, datatype=0))  # L23_0
top.add(gdstk.FlexPath([(12.4,10),(12.4,11.5)], 0, ends="flush", simple_path=True, layer=23, datatype=0))  # L23_0
top.add(gdstk.FlexPath([(20.3,2.2),(20.3,3.5)], 0, ends="flush", simple_path=True, layer=23, datatype=0))  # L23_0
top.add(gdstk.FlexPath([(12.6,4.9),(11.3,4.9)], 0, ends="flush", simple_path=True, layer=23, datatype=0))  # L23_0
top.add(gdstk.FlexPath([(40.2,1.1),(40.2,2.4)], 0, ends="flush", simple_path=True, layer=23, datatype=0))  # L23_0
top.add(gdstk.FlexPath([(37.9,3.5),(37.9,2.2)], 0, ends="flush", simple_path=True, layer=23, datatype=0))  # L23_0
top.add(gdstk.FlexPath([(28.4,5.1),(26.8,5.1)], 0, ends="flush", simple_path=True, layer=23, datatype=0))  # L23_0
top.add(gdstk.FlexPath([(41.7,1.1),(40.2,1.1)], 0, ends="flush", simple_path=True, layer=23, datatype=0))  # L23_0
top.add(gdstk.FlexPath([(35.1,2.2),(35.1,3.5)], 0, ends="flush", simple_path=True, layer=23, datatype=0))  # L23_0
top.add(gdstk.FlexPath([(41.7,2.4),(41.7,1.1)], 0, ends="flush", simple_path=True, layer=23, datatype=0))  # L23_0
top.add(gdstk.FlexPath([(25.5,7),(24.9,7)], 0, ends="flush", simple_path=True, layer=23, datatype=0))  # L23_0
top.add(gdstk.FlexPath([(37.9,2.2),(35.1,2.2)], 0, ends="flush", simple_path=True, layer=23, datatype=0))  # L23_0
top.add(gdstk.FlexPath([(23.1,3.5),(23.1,2.2)], 0, ends="flush", simple_path=True, layer=23, datatype=0))  # L23_0
top.add(gdstk.FlexPath([(40.2,2.4),(41.7,2.4)], 0, ends="flush", simple_path=True, layer=23, datatype=0))  # L23_0

lib.write_gds('TOP.gds')
